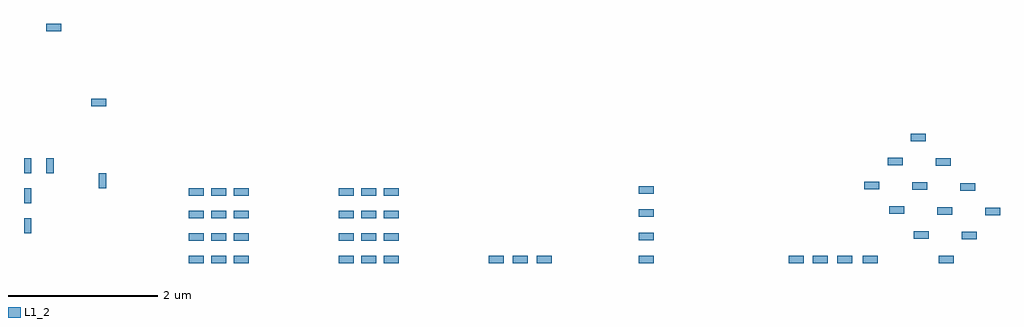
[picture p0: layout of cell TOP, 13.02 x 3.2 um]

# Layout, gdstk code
from math import pi, radians
import gdstk
lib = gdstk.Library(unit=1e-6, precision=1e-09)
def R(c, l, rs):  # rectangles x0, y0, x1, y1
    for r in rs: c.add(gdstk.rectangle(r[:2], r[2:], *l))
L1_2 = (1, 2)

c_a = lib.new_cell('A')
R(c_a, L1_2, [(0.3,-0.4,0.4,-0.2)])

top = lib.new_cell('TOP')
top.add(gdstk.Reference(c_a, (-0.3,0.4)))
top.add(gdstk.Reference(c_a, (-0.3,0.8)))
top.add(gdstk.Reference(c_a, (-0.3,1.2)))
top.add(gdstk.Reference(c_a, (0,1.2)))
top.add(gdstk.Reference(c_a, (0.7,0.4), x_reflection=True))
top.add(gdstk.Reference(c_a, (0.7,1.4), rotation=pi/2))
top.add(gdstk.Reference(c_a, (0.7,2.4), rotation=pi/2, x_reflection=True))
r = gdstk.Reference(c_a, (2,0), rotation=3*pi/2, x_reflection=True); r.repetition = gdstk.Repetition(3, 4, v1=(0.3,0), v2=(0,0.3)); top.add(r)
r = gdstk.Reference(c_a, (4,0), rotation=3*pi/2, x_reflection=True); r.repetition = gdstk.Repetition(3, 4, v1=(0.3,0), v2=(0,0.3)); top.add(r)
r = gdstk.Reference(c_a, (6,0), rotation=3*pi/2, x_reflection=True); r.repetition = gdstk.Repetition(3, 1, v1=(0.32,0), v2=(0,0)); top.add(r)
r = gdstk.Reference(c_a, (8,0), rotation=3*pi/2, x_reflection=True); r.repetition = gdstk.Repetition(1, 4, v1=(0,0), v2=(0,0.31)); top.add(r)
top.add(gdstk.Reference(c_a, (10,0), rotation=3*pi/2, x_reflection=True))
top.add(gdstk.Reference(c_a, (10.32,0), rotation=3*pi/2, x_reflection=True))
top.add(gdstk.Reference(c_a, (10.65,0), rotation=3*pi/2, x_reflection=True))
top.add(gdstk.Reference(c_a, (10.99,0), rotation=3*pi/2, x_reflection=True))
r = gdstk.Reference(c_a, (12,0), rotation=3*pi/2, x_reflection=True); r.repetition = gdstk.Repetition(3, 4, v1=(0.31,0.32), v2=(-0.33,0.33)); top.add(r)

lib.write_gds('TOP.gds')
